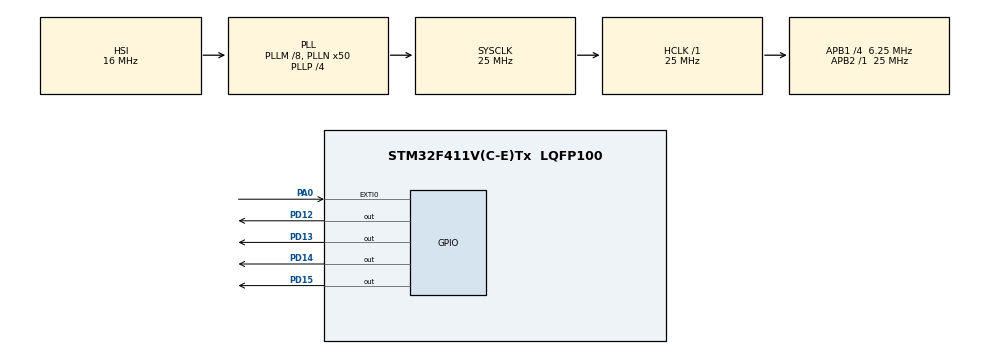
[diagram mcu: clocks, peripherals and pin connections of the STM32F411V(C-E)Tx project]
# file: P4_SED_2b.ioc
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Mcu.Family=STM32F4
Mcu.Name=STM32F411V(C-E)Tx
Mcu.Package=LQFP100
NVIC.EXTI0_IRQn=true\:0\:0\:false\:false\:true\:true\:true\:true
NVIC.PriorityGroup=NVIC_PRIORITYGROUP_0
PA0-WKUP.Signal=GPXTI0
PD12.Signal=GPIO_Output
PD13.Signal=GPIO_Output
PD14.Signal=GPIO_Output
PD15.Signal=GPIO_Output
ProjectManager.HeapSize=0x200
ProjectManager.StackSize=0x400
ProjectManager.TargetToolchain=STM32CubeIDE
RCC.48MHZClocksFreq_Value=12500000
RCC.AHBFreq_Value=25000000
RCC.APB1CLKDivider=RCC_HCLK_DIV4
RCC.APB1Freq_Value=6250000
RCC.APB1TimFreq_Value=12500000
RCC.APB2Freq_Value=25000000
RCC.APB2TimFreq_Value=25000000
RCC.CortexFreq_Value=25000000
RCC.HCLKFreq_Value=25000000
RCC.HSE_VALUE=8000000
RCC.HSI_VALUE=16000000
RCC.PLLI2SM=5
RCC.PLLI2SN=200
RCC.PLLM=8
RCC.PLLN=50
RCC.PLLP=RCC_PLLP_DIV4
RCC.PLLQ=8
RCC.SYSCLKFreq_VALUE=25000000
RCC.SYSCLKSource=RCC_SYSCLKSOURCE_PLLCLK
RCC.VCOOutputFreq_Value=100000000
board=STM32F411E-DISCO

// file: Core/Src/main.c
/* USER CODE BEGIN Header */
/**
  ******************************************************************************
  * @file           : main.c
  * @brief          : Main program body
  ******************************************************************************
  * @attention
  *
  * Copyright (c) 2023 STMicroelectronics.
  * All rights reserved.
  *
  * This software is licensed under terms that can be found in the LICENSE file
  * in the root directory of this software component.
  * If no LICENSE file comes with this software, it is provided AS-IS.
  *
  ******************************************************************************
  */
/* USER CODE END Header */
#include "main.h"

/* USER CODE BEGIN Includes */
#include <stdlib.h>
/* USER CODE END Includes */

void SystemClock_Config(void);
static void MX_GPIO_Init(void);

/* USER CODE BEGIN 0 */
volatile uint32_t contador = 0;
volatile uint16_t flagPulsado = 0;
volatile uint32_t contadorAux = 0;
volatile int regionCritica = 1;

void HAL_GPIO_EXTI_Callback(uint16_t GPIO_Pin){
	if(GPIO_Pin == GPIO_PIN_0 && regionCritica == 0){
		contador = contadorAux;
		flagPulsado = 1;
	}
}
/* USER CODE END 0 */

int main(void)
{

  /* MCU Configuration--------------------------------------------------------*/

  /* Reset of all peripherals, Initializes the Flash interface and the Systick. */
  HAL_Init();

  /* Configure the system clock */
  SystemClock_Config();

  /* Initialize all configured peripherals */
  MX_GPIO_Init();
  /* USER CODE BEGIN 2 */
  uint16_t tiempoEspera;
  /* USER CODE END 2 */

  /* Infinite loop */
  while (1)
  {

    /* USER CODE BEGIN 3 */

	contadorAux = 0;

	HAL_GPIO_WritePin(GPIOD, GPIO_PIN_12, 0);
	HAL_GPIO_WritePin(GPIOD, GPIO_PIN_13, 0);
	HAL_GPIO_WritePin(GPIOD, GPIO_PIN_14, 0);
	HAL_GPIO_WritePin(GPIOD, GPIO_PIN_15, 1);

	tiempoEspera = rand () % (2000+1) + 2000;
	uint32_t tiempoAct = HAL_GetTick();

	while(tiempoAct + tiempoEspera >= HAL_GetTick()){
		HAL_NVIC_DisableIRQ(EXTI0_IRQn);
	}
	HAL_NVIC_EnableIRQ(EXTI0_IRQn);

	HAL_GPIO_WritePin(GPIOD, GPIO_PIN_12, 1);
	HAL_GPIO_WritePin(GPIOD, GPIO_PIN_15, 0);
	regionCritica = 0;

	while (!flagPulsado){
		if(HAL_GPIO_ReadPin(GPIOD, GPIO_PIN_0)){
			HAL_GPIO_EXTI_Callback(GPIO_PIN_0);
		}
		else
			contadorAux++;
	}
	regionCritica = 1;
	HAL_GPIO_WritePin(GPIOD, GPIO_PIN_14, 1);
	HAL_GPIO_WritePin(GPIOD, GPIO_PIN_12, 0);
	HAL_Delay(5000);
	flagPulsado = 0;
  }
  /* USER CODE END 3 */
}

void SystemClock_Config(void)
{
  RCC_OscInitTypeDef RCC_OscInitStruct = {0};
  RCC_ClkInitTypeDef RCC_ClkInitStruct = {0};

  /** Configure the main internal regulator output voltage
  */
  __HAL_RCC_PWR_CLK_ENABLE();
  __HAL_PWR_VOLTAGESCALING_CONFIG(PWR_REGULATOR_VOLTAGE_SCALE1);

  /** Initializes the RCC Oscillators according to the specified parameters
  * in the RCC_OscInitTypeDef structure.
  */
  RCC_OscInitStruct.OscillatorType = RCC_OSCILLATORTYPE_HSI;
  RCC_OscInitStruct.HSIState = RCC_HSI_ON;
  RCC_OscInitStruct.HSICalibrationValue = RCC_HSICALIBRATION_DEFAULT;
  RCC_OscInitStruct.PLL.PLLState = RCC_PLL_ON;
  RCC_OscInitStruct.PLL.PLLSource = RCC_PLLSOURCE_HSI;
  RCC_OscInitStruct.PLL.PLLM = 8;
  RCC_OscInitStruct.PLL.PLLN = 50;
  RCC_OscInitStruct.PLL.PLLP = RCC_PLLP_DIV4;
  RCC_OscInitStruct.PLL.PLLQ = 8;
  if (HAL_RCC_OscConfig(&RCC_OscInitStruct) != HAL_OK)
  {
    Error_Handler();
  }

  /** Initializes the CPU, AHB and APB buses clocks
  */
  RCC_ClkInitStruct.ClockType = RCC_CLOCKTYPE_HCLK|RCC_CLOCKTYPE_SYSCLK
                              |RCC_CLOCKTYPE_PCLK1|RCC_CLOCKTYPE_PCLK2;
  RCC_ClkInitStruct.SYSCLKSource = RCC_SYSCLKSOURCE_PLLCLK;
  RCC_ClkInitStruct.AHBCLKDivider = RCC_SYSCLK_DIV1;
  RCC_ClkInitStruct.APB1CLKDivider = RCC_HCLK_DIV4;
  RCC_ClkInitStruct.APB2CLKDivider = RCC_HCLK_DIV1;

  if (HAL_RCC_ClockConfig(&RCC_ClkInitStruct, FLASH_LATENCY_0) != HAL_OK)
  {
    Error_Handler();
  }
}

static void MX_GPIO_Init(void)
{
  GPIO_InitTypeDef GPIO_InitStruct = {0};

  /* GPIO Ports Clock Enable */
  __HAL_RCC_GPIOA_CLK_ENABLE();
  __HAL_RCC_GPIOD_CLK_ENABLE();

  /*Configure GPIO pin Output Level */
  HAL_GPIO_WritePin(GPIOD, GPIO_PIN_12|GPIO_PIN_13|GPIO_PIN_14|GPIO_PIN_15, GPIO_PIN_RESET);

  /*Configure GPIO pin : PA0 */
  GPIO_InitStruct.Pin = GPIO_PIN_0;
  GPIO_InitStruct.Mode = GPIO_MODE_IT_RISING;
  GPIO_InitStruct.Pull = GPIO_NOPULL;
  HAL_GPIO_Init(GPIOA, &GPIO_InitStruct);

  /*Configure GPIO pins : PD12 PD13 PD14 PD15 */
  GPIO_InitStruct.Pin = GPIO_PIN_12|GPIO_PIN_13|GPIO_PIN_14|GPIO_PIN_15;
  GPIO_InitStruct.Mode = GPIO_MODE_OUTPUT_PP;
  GPIO_InitStruct.Pull = GPIO_NOPULL;
  GPIO_InitStruct.Speed = GPIO_SPEED_FREQ_LOW;
  HAL_GPIO_Init(GPIOD, &GPIO_InitStruct);

  /* EXTI interrupt init*/
  HAL_NVIC_SetPriority(EXTI0_IRQn, 0, 0);
  HAL_NVIC_EnableIRQ(EXTI0_IRQn);

}

void Error_Handler(void)
{
  __disable_irq();
  while (1)
  {
  }
}
